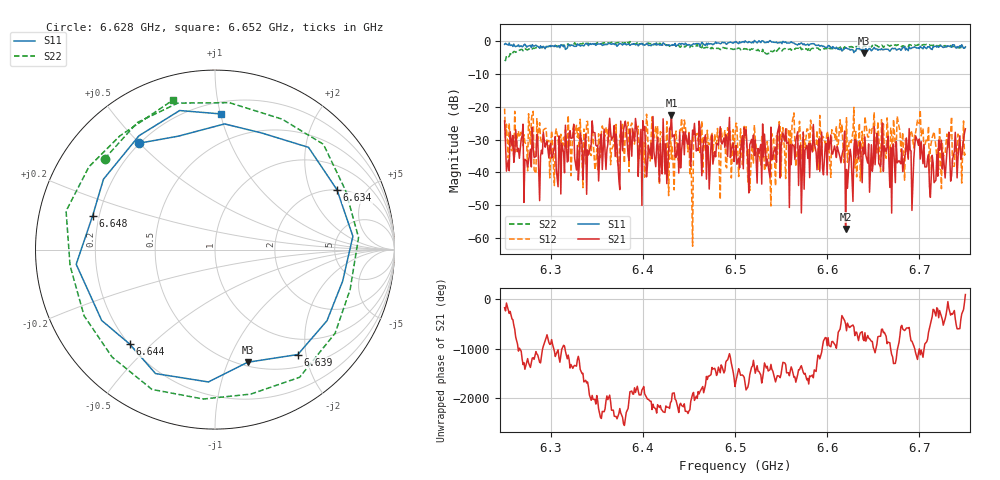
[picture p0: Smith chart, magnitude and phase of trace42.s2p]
# Hz S RI R 50
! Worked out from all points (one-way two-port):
!   401 points, 6.25 GHz to 6.75 GHz, reference 50 ohm
!   highest |S21| = -22.61 dB at 6.431 GHz (marker M1); lowest = -57.2 dB at 6.62 GHz (marker M2)
!   lowest |S11| = -3.7 dB at 6.64 GHz (marker M3), VSWR 4.77, Z = 26.9 - j59 ohm
!   |S11| at or under -10 dB: nowhere
!   |S22| runs from -6.0 to -0.2 dB; largest |S21 - S12| = 0.12
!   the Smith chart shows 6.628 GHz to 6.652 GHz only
!   S11 on the Smith chart (normalised r, x): 6.628 GHz: 0.20, +0.50; 6.634 GHz: 2.00, +3.12; 6.639 GHz: 0.71, -1.85; 6.644 GHz: 0.20, -0.43; 6.648 GHz: 0.17, +0.13; 6.652 GHz: 0.28, +1.00
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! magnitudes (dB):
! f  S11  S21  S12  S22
! 6.25 GHz  -1.0  -24.3  -20.6  -5.8
! 6.274 GHz  -1.9  -36.5  -31.6  -2.7
! 6.322 GHz  -1.3  -29.7  -41.0  -1.3
! 6.334 GHz  -1.3  -31.3  -36.6  -0.9
! 6.379 GHz  -0.8  -27.2  -31.3  -0.8
! 6.418 GHz  -1.2  -42.9  -43.7  -0.7
! 6.431 GHz  -1.3  -22.6  -36.0  -1.5
! 6.5 GHz  -0.4  -33.9  -29.0  -2.4
! 6.536 GHz  -0.4  -38.0  -32.8  -3.8
! 6.584 GHz  -0.8  -33.8  -26.9  -2.2
! 6.62 GHz  -2.1  -57.2  -33.5  -2.2
! 6.628 GHz  -2.7  -48.8  -27.7  -2.0
! 6.634 GHz  -2.4  -35.9  -31.7  -1.5
! 6.639 GHz  -2.6  -32.4  -33.4  -1.8
! 6.64 GHz  -3.7  -34.4  -31.0  -1.4
! 6.644 GHz  -3.0  -37.2  -29.2  -1.4
! 6.648 GHz  -3.0  -31.6  -28.1  -1.8
! 6.652 GHz  -2.4  -37.7  -29.9  -1.3
! 6.668 GHz  -3.1  -44.6  -37.6  -1.6
! 6.698 GHz  -2.2  -30.5  -24.1  -1.3
! 6.714 GHz  -2.6  -34.8  -29.4  -1.3
! 6.75 GHz  -1.8  -26.7  -34.3  -2.2
